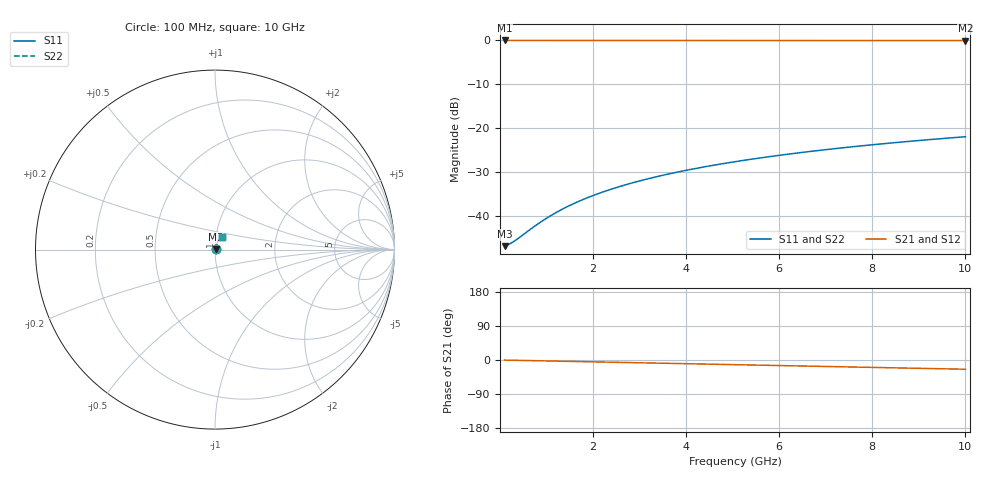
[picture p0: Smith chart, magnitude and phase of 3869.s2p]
# Hz S RI R 50.00
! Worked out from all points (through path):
!   100 points, 100 MHz to 10 GHz, reference 50 ohm
!   highest |S21| = -0.04 dB at 100 MHz (marker M1); lowest = -0.1 dB at 10 GHz (marker M2)
!   group delay of S21, straight-line fit = 6.78 ps
!   lowest |S11| = -46.9 dB at 100 MHz (marker M3), VSWR 1.01, Z = 50.4 + j0.0812 ohm
!   |S11| at or under -10 dB: start of sweep to end of sweep
!   |S22| runs from -46.9 to -22.0 dB; largest |S21 - S12| = 0
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1e8  0.00446 0.000805  0.9955 -0.00424  0.9955 -0.00424  0.00446 0.000805
2e8  0.0045 0.00161  0.9955 -0.00847  0.9955 -0.00847  0.0045 0.00161
3e8  0.00454 0.00241  0.9954 -0.0127  0.9954 -0.0127  0.00454 0.00241
8e8  0.00479 0.00643  0.9948 -0.0339  0.9948 -0.0339  0.00479 0.00643
9e8  0.00486 0.00723  0.9946 -0.0381  0.9946 -0.0381  0.00486 0.00723
1.1e9  0.00501 0.00883  0.9942 -0.0466  0.9942 -0.0466  0.00501 0.00883
1.4e9  0.00529 0.0112  0.9935 -0.0593  0.9935 -0.0593  0.00529 0.0112
1.6e9  0.00551 0.0128  0.9929 -0.0677  0.9929 -0.0677  0.00551 0.0128
1.8e9  0.00575 0.0144  0.9923 -0.0762  0.9923 -0.0762  0.00575 0.0144
2.1e9  0.00617 0.0168  0.9912 -0.0888  0.9912 -0.0888  0.00617 0.0168
2.5e9  0.00681 0.0199  0.9894 -0.1057  0.9894 -0.1057  0.00681 0.0199
2.9e9  0.00757 0.0231  0.9874 -0.1225  0.9874 -0.1225  0.00757 0.0231
3.4e9  0.00866 0.0269  0.9844 -0.1435  0.9844 -0.1435  0.00866 0.0269
3.8e9  0.00964 0.03  0.9817 -0.1602  0.9817 -0.1602  0.00964 0.03
4.2e9  0.0107 0.033  0.9787 -0.1769  0.9787 -0.1769  0.0107 0.033
4.6e9  0.0119 0.036  0.9754 -0.1935  0.9754 -0.1935  0.0119 0.036
5.1e9  0.0136 0.0396  0.9709 -0.2142  0.9709 -0.2142  0.0136 0.0396
5.9e9  0.0165 0.0453  0.9627 -0.247  0.9627 -0.247  0.0165 0.0453
6.7e9  0.0198 0.0508  0.9534 -0.2796  0.9534 -0.2796  0.0198 0.0508
7.5e9  0.0235 0.0561  0.9429 -0.3118  0.9429 -0.3118  0.0235 0.0561
8.4e9  0.0281 0.0616  0.9298 -0.3475  0.9298 -0.3475  0.0281 0.0616
1e10  0.0372 0.0706  0.9032 -0.4096  0.9032 -0.4096  0.0372 0.0706
